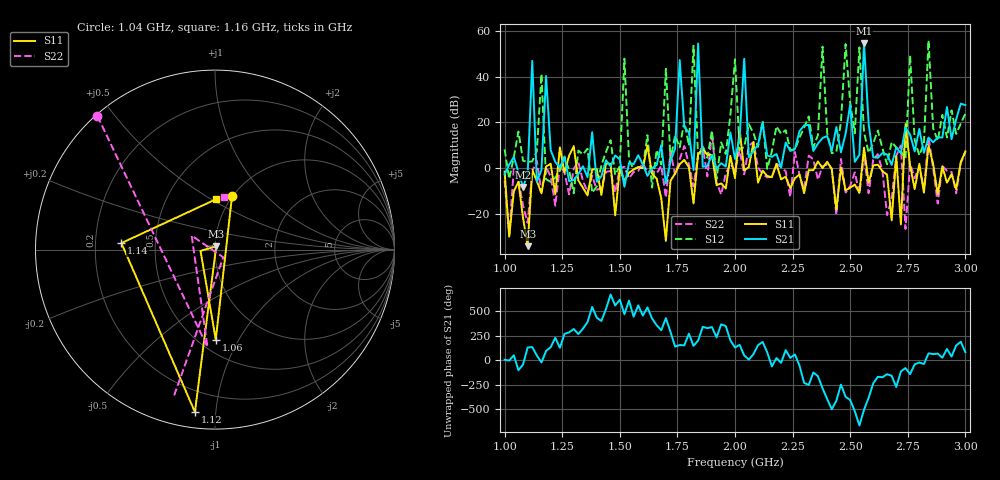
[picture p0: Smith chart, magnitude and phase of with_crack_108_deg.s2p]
# MHz S MA R 50
!  freq  S11  S21  S12  S22
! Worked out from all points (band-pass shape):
!   101 points, 1 GHz to 3 GHz, reference 50 ohm
!   highest |S21| = 54.65 dB at 2.56 GHz (marker M1); lowest = -8.3 dB at 1.08 GHz (marker M2)
!   |S21| within 3 dB of the highest: 1.838957 GHz to 1.841071 GHz (2.114 MHz wide, 0.115 % of centre); 2.558771 GHz to 2.561703 GHz (2.933 MHz wide, 0.115 % of centre)
!   lowest |S11| = -34.2 dB at 1.1 GHz (marker M3), VSWR 1.04, Z = 50.7 + j1.86 ohm
!   |S11| at or under -10 dB: 1.006 GHz to 1.041 GHz (34.76 MHz wide, 3.4 % of centre); 1.065 GHz to 1.114 GHz (49.42 MHz wide, 4.54 % of centre); 1.672 GHz to 1.717 GHz (44.16 MHz wide, 2.61 % of centre) (the widest 3 of 16)
!   |S22| runs from -29.1 to 15.4 dB; largest |S21 - S12| = 6.2e+02
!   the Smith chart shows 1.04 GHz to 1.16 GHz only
!   S11 on the Smith chart (normalised r, x): 1.04 GHz: 1.00, +0.65; 1.06 GHz: 0.60, -0.81; 1.12 GHz: 0.08, -0.88; 1.14 GHz: 0.31, +0.03; 1.16 GHz: 0.86, +0.53
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1000  0.8357 32.0  0.7275 6.5  2.569 -172.1  0.5301 91.5
1040  0.311 72.3  1.751 52.3  1.74 57.8  0.9909 131.4
1060  0.5017 -89.5  0.8196 -100.5  6.313 -97.8  0.5446 -94.4
1080  0.08099 -174.8  0.3857 -42.5  1.45 118.9  0.1516 149.0
1100  0.01959 69.2  0.7367 131.7  1.367 -37.5  0.06332 -43.0
1120  0.9118 -97.0  222.1 134.9  1.4 57.3  0.8559 -105.7
1140  0.5226 176.0  0.5031 49.4  2.36 18.6  1.438 135.6
1160  0.2811 88.7  0.9179 -20.8  114.3 -59.6  0.2967 80.7
1340  0.3709 101.4  1.097 -36.6  1.994 -103.9  0.5266 97.6
1680  0.2178 26.4  3.189 -51.7  1.204 -136.2  1.121 31.9
1820  0.1691 124.4  0.9088 147.8  474.8 90.3  0.3967 67.1
1840  2.067 -61.6  533.3 -158.1  1.629 30.9  2.054 -102.5
2000  0.603 67.2  1.585 131.4  241.1 -42.1  0.8947 102.2
2340  0.9019 102.9  2.375 -123.5  2.844 58.0  1.563 39.7
2380  0.9991 82.2  4.557 75.5  453.8 23.5  1.096 73.5
2480  0.3282 -126.2  5.641 -11.4  517.1 118.0  0.2928 -122.6
2540  0.2864 131.2  1.96 56.4  437.8 -116.6  0.2761 152.1
2560  2.8 -172.3  540.3 -143.2  6.108 -22.2  2.001 -93.5
2680  0.07199 95.0  1.176 -157.1  3.717 177.0  0.2118 55.3
2840  3.086 39.0  4.659 71.7  621.1 -35.5  4.863 -49.3
2860  1.241 108.5  3.665 64.6  7.435 -138.6  1.004 124.5
3000  2.319 -78.3  23.95 82.5  15.59 -89.7  2.224 -55.4
